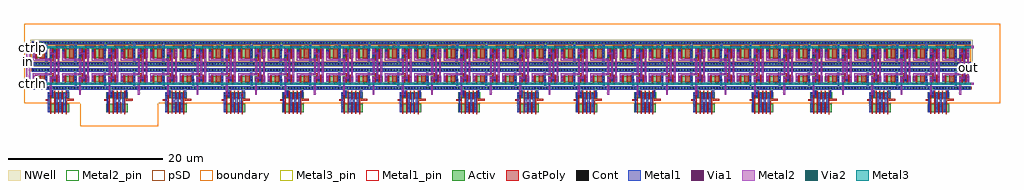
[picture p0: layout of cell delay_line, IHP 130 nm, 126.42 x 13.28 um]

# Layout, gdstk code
import gdstk
lib = gdstk.Library(unit=1e-6, precision=1e-09)
def R(c, l, rs):  # rectangles x0, y0, x1, y1
    for r in rs: c.add(gdstk.rectangle(r[:2], r[2:], *l))
def A(c, l, x, y, w, h, nx, ny, dx, dy):  # array of equal rectangles
    R(c, l, [(x+i*dx, y+j*dy, x+i*dx+w, y+j*dy+h) for i in range(nx) for j in range(ny)])
def P(c, l, *ps):  # polygons
    for p in ps: c.add(gdstk.Polygon(p, *l))
Activ = (1, 0)
GatPoly = (5, 0)
Cont = (6, 0)
Metal1 = (8, 0)
Metal1_pin = (8, 2)
Metal2 = (10, 0)
Metal2_pin = (10, 2)
pSD = (14, 0)
Via1 = (19, 0)
Via2 = (29, 0)
Metal3 = (30, 0)
Metal3_pin = (30, 2)
NWell = (31, 0)
boundary = (189, 4)

delay_cell = lib.new_cell('delay_cell')
R(delay_cell, Activ, [(0,-0.15,3.8,0.15), (0.115,0.795,1.975,1.535), (2.285,0.795,3.605,1.535), (0,2.195,3.8,2.495), (0,2.975,3.8,3.275), (0.115,3.935,1.975,5.055), (2.285,3.935,3.605,5.055), (0,5.715,3.8,6.015)])
P(delay_cell, GatPoly, [(0.115,0.405),(0.115,0.705),(0.455,0.705),(0.455,1.715),(0.655,1.715),(0.655,0.405)],
  [(0.455,3.755),(0.455,5.145),(0.115,5.145),(0.115,5.445),(0.655,5.445),(0.655,3.755)],
  [(1.185,0.405),(1.185,0.615),(1.035,0.615),(1.035,1.715),(1.635,1.715),(1.635,0.615),(1.485,0.615),(1.485,0.405)],
  [(1.035,3.755),(1.035,5.235),(1.185,5.235),(1.185,5.445),(1.485,5.445),(1.485,5.235),(1.635,5.235),(1.635,3.755)],
  [(2.285,3.545),(2.285,3.845),(2.625,3.845),(2.625,5.235),(2.755,5.235),(2.755,3.545)],
  [(3.135,3.755),(3.135,5.145),(3.05,5.145),(3.05,5.445),(3.35,5.445),(3.35,5.145),(3.265,5.145),(3.265,3.755)],
  [(2.625,0.615),(2.625,1.625),(2.285,1.625),(2.285,1.925),(2.755,1.925),(2.755,0.615)],
  [(3.05,0.42),(3.05,0.72),(3.135,0.72),(3.135,1.73),(3.265,1.73),(3.265,0.72),(3.35,0.72),(3.35,0.42)])
A(delay_cell, Cont, 0.11, -0.08, 0.16, 0.16, 10, 2, 0.38, 2.345)
A(delay_cell, Cont, 0.11, 3.045, 0.16, 0.16, 10, 2, 0.38, 2.74)
A(delay_cell, Cont, 0.185, 4.005, 0.16, 0.16, 1, 3, 0, 0.385)
R(delay_cell, Cont, [(0.185,0.475,0.345,0.635), (1.255,0.475,1.415,0.635), (3.12,0.49,3.28,0.65), (2.355,0.865,2.515,1.025), (0.185,0.965,0.345,1.125), (1.745,0.965,1.905,1.125), (2.865,0.965,3.025,1.125), (3.375,0.965,3.535,1.125), (2.355,1.205,2.515,1.365), (0.185,1.305,0.345,1.465), (1.745,1.305,1.905,1.465), (2.865,1.305,3.025,1.465), (3.375,1.305,3.535,1.465), (2.355,1.695,2.515,1.855), (2.355,3.615,2.515,3.775), (1.745,4.005,1.905,4.165), (2.865,4.005,3.025,4.165), (3.375,4.005,3.535,4.165), (2.355,4.13,2.515,4.29), (1.745,4.415,1.905,4.575), (2.865,4.415,3.025,4.575), (3.375,4.415,3.535,4.575), (2.355,4.475,2.515,4.635), (1.745,4.775,1.905,4.935), (2.865,4.775,3.025,4.935), (3.375,4.775,3.535,4.935), (2.355,4.825,2.515,4.985), (0.185,5.215,0.345,5.375), (1.255,5.215,1.415,5.375), (3.12,5.215,3.28,5.375)])
R(delay_cell, Metal1, [(1.155,0.41,1.52,0.7), (0.05,0.425,0.405,0.685), (0.12,0.9,0.41,1.6), (3.325,0.9,3.585,1.6), (2.205,1.63,2.58,1.92), (2.205,3.55,2.58,3.84), (3.31,3.935,3.6,4.985), (0.12,3.94,0.41,4.945), (0.03,5.15,0.41,5.44), (1.155,5.15,1.52,5.44)])
P(delay_cell, Metal1, [(2.305,0.44),(2.305,1.43),(2.565,1.43),(2.565,0.7),(3.33,0.7),(3.33,0.44)],
  [(2.29,4.065),(2.29,5.425),(3.33,5.425),(3.33,5.165),(2.58,5.165),(2.58,4.065)],
  [(0,-0.22),(0,0.22),(1.745,0.22),(1.745,0.86),(1.695,0.86),(1.695,2.125),(0,2.125),(0,2.565),(3.8,2.565),(3.8,2.125),(3.075,2.125),(3.075,0.9),(2.815,0.9),(2.815,2.125),(1.955,2.125),(1.955,1.125),(1.995,1.125),(1.995,0.22),(3.8,0.22),(3.8,-0.22)],
  [(0,2.905),(0,3.345),(1.695,3.345),(1.695,4.985),(1.745,4.985),(1.745,5.645),(0,5.645),(0,6.085),(3.8,6.085),(3.8,5.645),(1.995,5.645),(1.995,4.805),(1.955,4.805),(1.955,3.345),(2.815,3.345),(2.815,4.985),(3.06,4.985),(3.06,3.345),(3.8,3.345),(3.8,2.905)])
R(delay_cell, Metal2, [(1.06,0.445,1.61,0.75), (1.06,5.185,1.61,5.49)])
P(delay_cell, Metal2, [(0.12,0.92),(0.12,1.94),(2.345,1.94),(2.345,3.55),(0.12,3.55),(0.12,4.64),(0.41,4.64),(0.41,3.805),(2.58,3.805),(2.58,1.665),(0.41,1.665),(0.41,0.92)],
  [(2.29,0.73),(2.29,1.43),(2.83,1.43),(2.83,4.35),(2.29,4.35),(2.29,5.035),(2.58,5.035),(2.58,4.57),(3.05,4.57),(3.05,1.195),(2.58,1.195),(2.58,0.73)],
  [(3.31,0.41),(3.31,1.625),(3.345,1.625),(3.345,3.935),(3.31,3.935),(3.31,5.44),(4.21,5.44),(4.21,5.15),(3.6,5.15),(3.6,3.935),(3.565,3.935),(3.565,1.615),(3.6,1.615),(3.6,0.665),(4.205,0.665),(4.205,0.41)])
R(delay_cell, pSD, [(-0.07,-0.18,3.91,0.18), (-0.07,2.165,3.91,2.525), (-0.065,3.36,3.785,5.615)])
R(delay_cell, Via1, [(0.165,0.46,0.355,0.65), (1.24,0.46,1.43,0.65), (2.34,0.78,2.53,0.97), (0.17,0.95,0.36,1.14), (3.36,0.95,3.55,1.14), (2.34,1.19,2.53,1.38), (0.17,1.36,0.36,1.55), (3.36,1.36,3.55,1.55), (2.34,1.68,2.53,1.87), (2.34,3.6,2.53,3.79), (0.17,3.99,0.36,4.18), (3.36,3.99,3.55,4.18), (0.17,4.4,0.36,4.59), (2.34,4.4,2.53,4.59), (3.36,4.4,3.55,4.59), (2.34,4.81,2.53,5), (0.17,5.2,0.36,5.39), (1.24,5.2,1.43,5.39)])
R(delay_cell, Via2, [(1.24,0.46,1.43,0.65), (1.24,5.2,1.43,5.39)])
P(delay_cell, Metal3, [(1.19,0.41),(1.19,0.435),(0,0.435),(0,0.675),(1.19,0.675),(1.19,0.725),(1.48,0.725),(1.48,0.675),(3.8,0.675),(3.8,0.435),(1.48,0.435),(1.48,0.41)],
  [(1.19,5.15),(1.19,5.175),(0,5.175),(0,5.415),(1.19,5.415),(1.19,5.465),(1.48,5.465),(1.48,5.415),(3.8,5.415),(3.8,5.175),(1.48,5.175),(1.48,5.15)])
R(delay_cell, NWell, [(-0.24,2.735,4.04,6.255)])
delay_cell.add(gdstk.Label('VDD', (0.065,3.32), layer=8, texttype=25))
delay_cell.add(gdstk.Label('VSS', (0.07,2.525), layer=8, texttype=25))
delay_cell.add(gdstk.Label('VSS', (0.03,0.195), layer=8, texttype=25))
delay_cell.add(gdstk.Label('VDD', (0.055,5.985), layer=8, texttype=25))

mux2_tapped = lib.new_cell('mux2_tapped')
R(mux2_tapped, Activ, [(0.265,0.225,3.05,1.345), (0.265,2.09,3.065,2.83)])
R(mux2_tapped, GatPoly, [(1.105,0.045,1.225,3.015), (1.605,0.045,1.725,1.525), (2.105,0.045,2.225,1.525), (1.605,1.915,1.725,3.015), (2.105,1.915,2.225,3.015)])
P(mux2_tapped, GatPoly, [(0.605,0.055),(0.605,1.74),(0,1.74),(0,1.95),(0.605,1.95),(0.605,3.01),(0.725,3.01),(0.725,0.055)],
  [(2.605,0),(2.605,3.015),(2.725,3.015),(2.725,2),(3.655,2),(3.655,1.74),(2.725,1.74),(2.725,0)])
R(mux2_tapped, Cont, [(0.335,2.32,0.495,2.48), (0.835,2.32,0.995,2.48), (0.335,2.66,0.495,2.82), (0.835,2.66,0.995,2.82)])
R(mux2_tapped, Metal1, [(2.31,0.24,2.58,2.775), (1.785,0.245,2.055,2.765), (1.29,0.25,1.56,2.76), (0.3,0.265,0.53,2.825), (2.765,2.13,2.99,3.11), (0.8,2.165,1.02,3.115)])
R(mux2_tapped, Metal2, [(0.555,2.49,0.775,4.12), (4.355,2.49,4.575,4.12)])
mux2_tapped.add(gdstk.Label('output of\n tranmission gate mux', (1.735,2.45), layer=5, texttype=0))

delay_line = lib.new_cell('delay_line')
R(delay_line, Metal1_pin, [(-0.485,5.29,-0.06,5.67), (-0.495,8.795,-0.07,9.17)])
R(delay_line, Metal2, [(120.665,5.57,121.18,6.085)])
P(delay_line, Metal2, [(-1.22,3.13),(-1.22,8.66),(-0.065,8.66),(-0.065,8.15),(-0.725,8.15),(-0.725,3.82),(-0.07,3.82),(-0.07,3.47),(-0.725,3.47),(-0.725,3.13)])
R(delay_line, Metal2_pin, [(120.68,5.66,121.035,6.035), (-1.125,6.47,-0.77,6.845)])
R(delay_line, Metal3_pin, [(-0.49,3.57,-0.055,3.78), (-0.485,8.315,-0.05,8.525)])
R(delay_line, boundary, [(5.765,-1.835,15.845,1.945), (-1.53,1.14,124.885,11.44)])
r = gdstk.Reference(delay_cell, (-0.5,3.12)); r.repetition = gdstk.Repetition(32, 1, v1=(3.8,0), v2=(0,0)); delay_line.add(r)
r = gdstk.Reference(mux2_tapped, (1.27,-0.27)); r.repetition = gdstk.Repetition(16, 1, v1=(7.6,0), v2=(0,0)); delay_line.add(r)
delay_line.add(gdstk.Label('ctrlp', (-0.435,8.42), layer=30, texttype=25))
delay_line.add(gdstk.Label('ctrln', (-0.44,3.675), layer=30, texttype=25))
delay_line.add(gdstk.Label('out', (120.8,5.79), layer=10, texttype=25))
delay_line.add(gdstk.Label('in', (-1.005,6.6), layer=10, texttype=25))

lib.write_gds('delay_line.gds')
